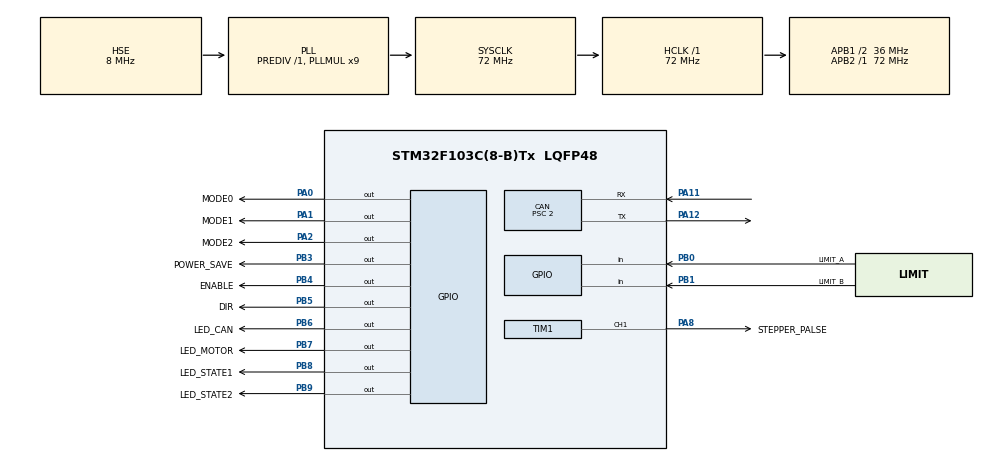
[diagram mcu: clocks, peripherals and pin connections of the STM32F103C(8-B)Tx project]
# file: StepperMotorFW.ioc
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CAN.BS1=CAN_BS1_14TQ
CAN.BS2=CAN_BS2_3TQ
CAN.CalculateBaudRate=1000000
CAN.CalculateTimeBit=1000
CAN.CalculateTimeQuantum=55.55555555555556
CAN.Prescaler=2
Mcu.Family=STM32F1
Mcu.Name=STM32F103C(8-B)Tx
Mcu.Package=LQFP48
NVIC.PriorityGroup=NVIC_PRIORITYGROUP_4
NVIC.TIM2_IRQn=true\:0\:0\:false\:false\:true\:true\:true\:true
NVIC.USB_LP_CAN1_RX0_IRQn=true\:0\:0\:false\:false\:true\:true\:true\:true
PA0-WKUP.GPIO_Label=MODE0
PA0-WKUP.GPIO_PuPd=GPIO_PULLDOWN
PA0-WKUP.Signal=GPIO_Output
PA1.GPIO_Label=MODE1
PA1.GPIO_PuPd=GPIO_PULLDOWN
PA1.Signal=GPIO_Output
PA11.Mode=CAN_Activate
PA11.Signal=CAN_RX
PA12.Mode=CAN_Activate
PA12.Signal=CAN_TX
PA13.Mode=Serial_Wire
PA13.Signal=SYS_JTMS-SWDIO
PA14.Mode=Serial_Wire
PA14.Signal=SYS_JTCK-SWCLK
PA2.GPIO_Label=MODE2
PA2.GPIO_PuPd=GPIO_PULLDOWN
PA2.Signal=GPIO_Output
PA8.GPIO_Label=STEPPER_PALSE
PA8.Signal=S_TIM1_CH1
PB0.GPIO_Label=LIMIT_A
PB0.GPIO_PuPd=GPIO_PULLDOWN
PB0.Signal=GPIO_Input
PB1.GPIO_Label=LIMIT_B
PB1.GPIO_PuPd=GPIO_PULLDOWN
PB1.Signal=GPIO_Input
PB3.GPIO_Label=POWER_SAVE
PB3.GPIO_PuPd=GPIO_PULLDOWN
PB3.Signal=GPIO_Output
PB4.GPIO_Label=ENABLE
PB4.GPIO_PuPd=GPIO_PULLDOWN
PB4.Signal=GPIO_Output
PB5.GPIO_Label=DIR
PB5.GPIO_PuPd=GPIO_PULLDOWN
PB5.Signal=GPIO_Output
PB6.GPIO_Label=LED_CAN
PB6.GPIO_PuPd=GPIO_PULLDOWN
PB6.Signal=GPIO_Output
PB7.GPIO_Label=LED_MOTOR
PB7.GPIO_PuPd=GPIO_PULLDOWN
PB7.Signal=GPIO_Output
PB8.GPIO_Label=LED_STATE1
PB8.GPIO_PuPd=GPIO_PULLDOWN
PB8.Signal=GPIO_Output
PB9.GPIO_Label=LED_STATE2
PB9.GPIO_PuPd=GPIO_PULLDOWN
PB9.Signal=GPIO_Output
PD0-OSC_IN.Mode=HSE-External-Oscillator
PD0-OSC_IN.Signal=RCC_OSC_IN
PD1-OSC_OUT.Mode=HSE-External-Oscillator
PD1-OSC_OUT.Signal=RCC_OSC_OUT
ProjectManager.HeapSize=0x200
ProjectManager.StackSize=0x400
ProjectManager.TargetToolchain=STM32CubeIDE
RCC.AHBFreq_Value=72000000
RCC.APB1CLKDivider=RCC_HCLK_DIV2
RCC.APB1Freq_Value=36000000
RCC.APB1TimFreq_Value=72000000
RCC.APB2Freq_Value=72000000
RCC.APB2TimFreq_Value=72000000
RCC.HCLKFreq_Value=72000000
RCC.PLLMUL=RCC_PLL_MUL9
RCC.PLLSourceVirtual=RCC_PLLSOURCE_HSE
RCC.SYSCLKFreq_VALUE=72000000
RCC.SYSCLKSource=RCC_SYSCLKSOURCE_PLLCLK
RCC.USBFreq_Value=72000000
SH.S_TIM1_CH1.0=TIM1_CH1,PWM Generation1 CH1
TIM1.Channel-PWM\ Generation1\ CH1=TIM_CHANNEL_1
TIM1.OC1Preload_PWM=DISABLE
TIM1.Period=10000
TIM1.Pulse-PWM\ Generation1\ CH1=500
TIM1.TIM_MasterOutputTrigger=TIM_TRGO_OC1REF
TIM1.TIM_MasterSlaveMode=TIM_MASTERSLAVEMODE_ENABLE
TIM2.AutoReloadPreload=TIM_AUTORELOAD_PRELOAD_ENABLE
TIM2.Period=200
TIM2.TIM_MasterOutputTrigger=TIM_TRGO_RESET
VP_TIM1_VS_ClockSourceINT.Mode=Internal
VP_TIM2_VS_ClockSourceITR.Mode=TriggerSource_ITR0
VP_TIM2_VS_ControllerModeClock.Mode=Clock Mode
VP_TIM2_VS_OPM.Mode=OPM_bit
board=custom

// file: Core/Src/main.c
/* USER CODE BEGIN Header */
/**
  ******************************************************************************
  * @file           : main.c
  * @brief          : Main program body
  ******************************************************************************
  * @attention
  *
  * Copyright (c) 2023 STMicroelectronics.
  * All rights reserved.
  *
  * This software is licensed under terms that can be found in the LICENSE file
  * in the root directory of this software component.
  * If no LICENSE file comes with this software, it is provided AS-IS.
  *
  ******************************************************************************
  */
/* USER CODE END Header */
#include "main.h"
#include "can.h"
#include "tim.h"
#include "gpio.h"

/* USER CODE BEGIN Includes */
#include "led.h"
#include "motor_control.h"
#include "config.h"
/* USER CODE END Includes */

/* USER CODE BEGIN PV */
__IO int deviceState = 0;
/* USER CODE END PV */

void SystemClock_Config(void);

/* USER CODE BEGIN 0 */
void can_setup(uint16_t baseID){
	CAN_FilterTypeDef filter;
	filter.FilterIdHigh         = 0;
//	filter.FilterIdLow          = baseID;
//	filter.FilterMaskIdHigh     = 0;
//  filter.FilterMaskIdLow      = 0xFF-2;
	filter.FilterIdLow          = 0;
	filter.FilterMaskIdHigh     = 0;
	filter.FilterMaskIdLow      = 0;
    filter.FilterScale          = CAN_FILTERSCALE_32BIT;
	filter.FilterFIFOAssignment = CAN_FILTER_FIFO0;
	filter.FilterBank           = 0;
	filter.FilterMode           = CAN_FILTERMODE_IDMASK;
	filter.SlaveStartFilterBank = 14;
	filter.FilterActivation     = ENABLE;

  if (HAL_CAN_ConfigFilter(&hcan, &filter) != HAL_OK)
  {
    Error_Handler();
  }

	HAL_CAN_Start(&hcan);

  if (HAL_CAN_ActivateNotification(&hcan, CAN_IT_RX_FIFO0_MSG_PENDING) != HAL_OK)
  {
    Error_Handler();
  }
}
/* USER CODE END 0 */

int main(void)
{

  /* MCU Configuration--------------------------------------------------------*/

  /* Reset of all peripherals, Initializes the Flash interface and the Systick. */
   HAL_Init();

  /* Configure the system clock */
  SystemClock_Config();

  /* Initialize all configured peripherals */
  MX_GPIO_Init();
  MX_CAN_Init();
  MX_TIM1_Init();
  MX_TIM2_Init();
  /* USER CODE BEGIN 2 */
  can_setup(BASE_ID);

//  HAL_GPIO_WritePin(MODE0_GPIO_Port, MODE0_Pin, GPIO_PIN_SET);
//  HAL_GPIO_WritePin(MODE1_GPIO_Port, MODE1_Pin, GPIO_PIN_SET);
//  HAL_GPIO_WritePin(MODE2_GPIO_Port, MODE2_Pin, GPIO_PIN_SET);
  set_speed(100);

  /* USER CODE END 2 */

  /* Infinite loop */
  /* USER CODE BEGIN WHILE */
  while (1)
  {
	  led_on(state1);
	  if(htim1.ChannelState[0]==HAL_TIM_CHANNEL_STATE_BUSY)led_on(motor);
    /* USER CODE END WHILE */

    /* USER CODE BEGIN 3 */
	  led_process();
  }
  /* USER CODE END 3 */
}

void SystemClock_Config(void)
{
  RCC_OscInitTypeDef RCC_OscInitStruct = {0};
  RCC_ClkInitTypeDef RCC_ClkInitStruct = {0};

  /** Initializes the RCC Oscillators according to the specified parameters
  * in the RCC_OscInitTypeDef structure.
  */
  RCC_OscInitStruct.OscillatorType = RCC_OSCILLATORTYPE_HSE;
  RCC_OscInitStruct.HSEState = RCC_HSE_ON;
  RCC_OscInitStruct.HSEPredivValue = RCC_HSE_PREDIV_DIV1;
  RCC_OscInitStruct.HSIState = RCC_HSI_ON;
  RCC_OscInitStruct.PLL.PLLState = RCC_PLL_ON;
  RCC_OscInitStruct.PLL.PLLSource = RCC_PLLSOURCE_HSE;
  RCC_OscInitStruct.PLL.PLLMUL = RCC_PLL_MUL9;
  if (HAL_RCC_OscConfig(&RCC_OscInitStruct) != HAL_OK)
  {
    Error_Handler();
  }

  /** Initializes the CPU, AHB and APB buses clocks
  */
  RCC_ClkInitStruct.ClockType = RCC_CLOCKTYPE_HCLK|RCC_CLOCKTYPE_SYSCLK
                              |RCC_CLOCKTYPE_PCLK1|RCC_CLOCKTYPE_PCLK2;
  RCC_ClkInitStruct.SYSCLKSource = RCC_SYSCLKSOURCE_PLLCLK;
  RCC_ClkInitStruct.AHBCLKDivider = RCC_SYSCLK_DIV1;
  RCC_ClkInitStruct.APB1CLKDivider = RCC_HCLK_DIV2;
  RCC_ClkInitStruct.APB2CLKDivider = RCC_HCLK_DIV1;

  if (HAL_RCC_ClockConfig(&RCC_ClkInitStruct, FLASH_LATENCY_2) != HAL_OK)
  {
    Error_Handler();
  }
}

void Error_Handler(void)
{
  __disable_irq();
  while (1)
  {
  }
}
